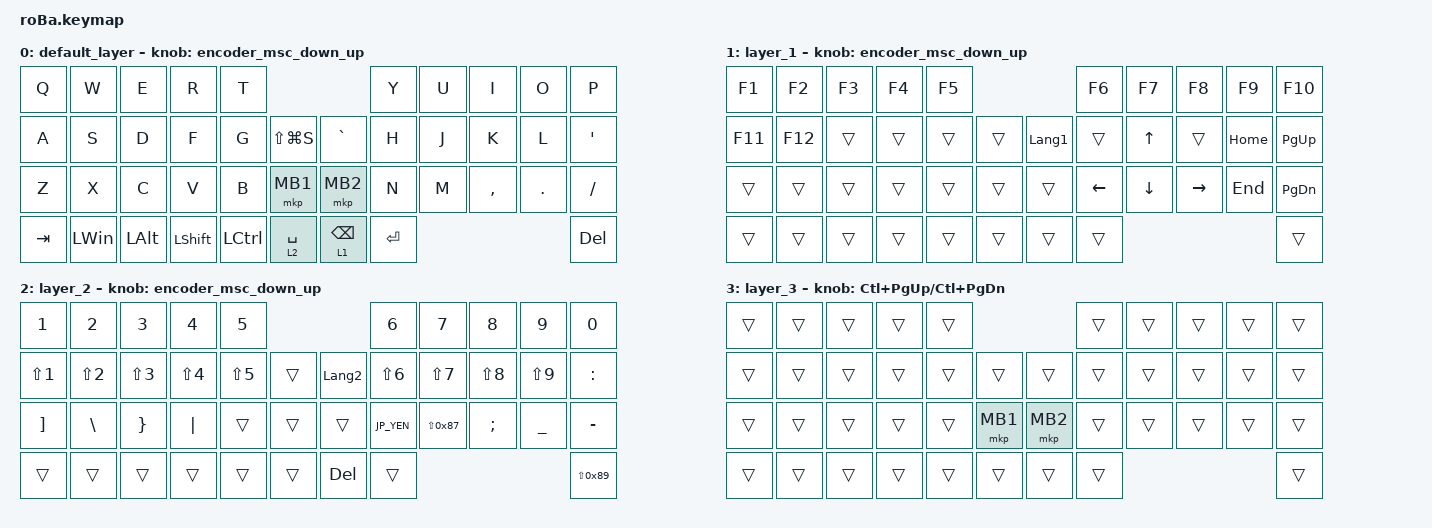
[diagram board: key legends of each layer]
#include <behaviors.dtsi>
#include <dt-bindings/zmk/bt.h>
#include <dt-bindings/zmk/keys.h>
#include <dt-bindings/zmk/pointing.h>

#define ZMK_POINTING_DEFAULT_SCRL_VAL 120

//US to JIS
#define JP_DQUOTE       AT                // "
#define JP_AMPERSAND    CARET             // &
#define JP_QUOTE        AMPERSAND         // '
#define JP_EQUAL        UNDER             // =
#define JP_CARET        EQUAL             // ^
#define JP_YEN          0x89              // ¥
#define JP_PLUS         COLON             // +
#define JP_TILDE        PLUS              // ~
#define JP_PIPE         LS(0x89)          // |
#define JP_AT           LEFT_BRACKET      // @
#define JP_COLON        SINGLE_QUOTE      // :
#define JP_ASTERISK     DOUBLE_QUOTES     // *
#define JP_BACKQUOTE    LEFT_BRACE        // `
#define JP_UNDERSCORE   LS(0x87)          // _
#define JP_LBRACKET     RIGHT_BRACKET     // [
#define JP_RBRACKET     BACKSLASH         // ]
#define JP_LPAREN       ASTERISK          // (
#define JP_RPAREN       LEFT_PARENTHESIS  // )
#define JP_LBRACE       RIGHT_BRACE       // {
#define JP_RBRACE       PIPE              // }
#define JP_KANA         LANGUAGE_1        // KANA
#define JP_EISU         LANGUAGE_2        // EISU
#define JP_HANZEN       GRAVE             // HANKAKU/ZENKAKU

&mt {
    flavor = "balanced";
    quick-tap-ms = <0>;
};

&trackball {
    //automouse-layer = <4>;
    scroll-layers = <1 2>;
};

/ {
    macros {
        to_layer_0: to_layer_0 {
            compatible = "zmk,behavior-macro-one-param";
            #binding-cells = <1>;
            bindings = <&to 0 &macro_param_1to1 &kp MACRO_PLACEHOLDER>;
            label = "TO_LAYER_0";
        };
        
        left_shift: behavior_left_shift {
            compatible = "zmk,behavior-macro-one-param";
            #binding-cells = <1>;
            wait-ms = <32>;
            tap-ms = <0>;
            bindings =
                <&macro_press &kp LSHFT>,
                <&macro_param_1to1>,
                <&macro_tap &kp MACRO_PLACEHOLDER>,
                <&macro_release &kp LSHFT>;
        };
    };

    behaviors {
        lt_to_layer_0: lt_to_layer_0 {
            compatible = "zmk,behavior-hold-tap";
            label = "LAYER_TAP_TO_0";
            bindings = <&mo>, <&to_layer_0>;

            #binding-cells = <2>;
            tapping-term-ms = <200>;
        };

        encoder_msc_down_up: encoder_msc_down_up {
            compatible = "zmk,behavior-sensor-rotate";
            label = "ENCODER_MSC_DOWN_UP";
            #sensor-binding-cells = <0>;
            bindings = <&msc SCRL_DOWN>, <&msc SCRL_UP>;
            tap-ms = <20>;
        };

    };

    keymap {
        compatible = "zmk,keymap";

        default_layer {
            bindings = <
&kp Q    &kp W         &kp E         &kp R           &kp T                                                 &kp Y        &kp U  &kp I      &kp O    &kp P
&kp A    &kp S         &kp D         &kp F           &kp G             &kp LS(LG(S))      &kp GRAVE        &kp H        &kp J  &kp K      &kp L    &kp SQT
&kp Z    &kp X         &kp C         &kp V           &kp B             &mkp MB1           &mkp MB2         &kp N        &kp M  &kp COMMA  &kp DOT  &kp SLASH
&kp TAB  &kp LEFT_WIN  &kp LEFT_ALT  &kp LEFT_SHIFT  &kp LEFT_CONTROL  &lt 2 SPACE        &lt 1 BACKSPACE  &kp ENTER                               &kp DEL
            >;

            sensor-bindings = <&encoder_msc_down_up>;
        };

        layer_1 {
            bindings = <
&kp F1      &kp F2      &kp F3       &kp F4      &kp F5                                &kp F6      &kp F7        &kp F8          &kp F9            &kp F10
&kp F11     &kp F12     &trans       &trans      &trans      &trans    &kp LANGUAGE_1  &trans      &kp UP        &trans          &kp HOME          &kp PG_UP
&trans      &trans      &trans       &trans      &trans      &trans    &trans          &kp LEFT    &kp DOWN      &kp RIGHT       &kp END           &kp PG_DN
&trans      &trans      &trans       &trans      &trans      &trans    &trans          &trans                                                      &trans
            >;

            sensor-bindings = <&encoder_msc_down_up>;
        };

        layer_2 {
            bindings = <
&kp N1           &kp N2           &kp N3         &kp N4         &kp N5                                    &kp N6         &kp N7             &kp N8             &kp N9          &kp N0
&kp LS(N1)       &kp LS(N2)       &kp LS(N3)     &kp LS(N4)     &kp LS(N5)    &trans      &kp LANGUAGE_2  &kp LS(N6)     &kp LS(N7)         &kp LS(N8)         &kp LS(N9)      &kp JP_PLUS
&kp JP_LBRACKET  &kp JP_RBRACKET  &kp JP_LBRACE  &kp JP_RBRACE  &trans        &trans      &trans          &kp JP_YEN     &kp JP_UNDERSCORE  &kp SEMI           &kp JP_EQUAL    &kp MINUS
&trans           &trans           &trans         &trans         &trans        &trans      &kp DEL         &trans                                                               &kp JP_PIPE
            >;

            sensor-bindings = <&encoder_msc_down_up>;
        };

        layer_3 {
            bindings = <
&trans  &trans  &trans  &trans  &trans                        &trans  &trans  &trans  &trans  &trans
&trans  &trans  &trans  &trans  &trans  &trans      &trans    &trans  &trans  &trans  &trans  &trans
&trans  &trans  &trans  &trans  &trans  &mkp MB1    &mkp MB2  &trans  &trans  &trans  &trans  &trans
&trans  &trans  &trans  &trans  &trans  &trans      &trans    &trans                          &trans
            >;

            sensor-bindings = <&inc_dec_kp LC(PAGE_UP) LC(PAGE_DOWN)>;
        };
    };
};
